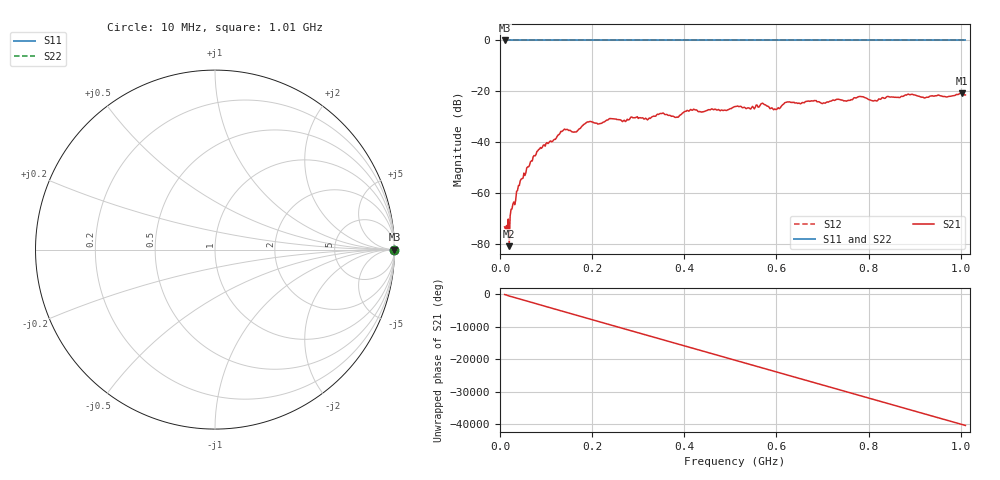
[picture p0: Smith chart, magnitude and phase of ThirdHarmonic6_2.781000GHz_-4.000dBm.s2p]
! 8/17/2025 7:07:53 AM
! C:\ANRITSUVNA\TEMP\TEMP.S2P
! CHANNEL.1
! TR.MEASUREMENT
! RAW.DATA
! RF.CORRECTION.OFF
! AVERAGING.OFF
! IF.BANDWIDTH: 5KHZ
! SWEEPTYPE:  FREQ.SWEEP(Linear)
! Reference Plane Port Info
! PORT:  PORT1  PORT2
! DISTANCE:  0  m  0  m
! TIME:  0  s  0  s
! PHASE.OFFSET:  0  deg.  0  deg.
! LOSS:  0  dB  0  dB
! REF.LOSS:  0  dB  0  dB
! REF.FREQ:  0  Hz  0  Hz
! Power Info
! POWER:  -20  dBm  -20  dBm
! EFF.POWER:  -20  dBm  -20  dBm
! SOURCE.ATTEN:  0  dB  0  dB
! TEST.ATTEN:  0  dB  0  dB
# GHZ S RI R 50.0
! FREQ.GHZ  S11RE  S11IM  S21RE  S21IM  S12RE  S12IM  S22RE  S22IM
!; PortSelection: Port_12
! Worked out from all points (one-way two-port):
!   501 points, 10 MHz to 1.01 GHz, reference 50 ohm
!   highest |S21| = -20.75 dB at 1.002 GHz (marker M1); lowest = -80.9 dB at 20 MHz (marker M2)
!   lowest |S11| = 0.0 dB at 10 MHz (marker M3)
!   |S11| at or under -10 dB: nowhere
!   |S22| runs from 0.0 to 0.0 dB; largest |S21 - S12| = 1.1
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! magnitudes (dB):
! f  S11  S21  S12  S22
! 10 MHz  0.0  -73.3  0.0  0.0
! 16 MHz  0.0  -74.7  0.0  0.0
! 20 MHz  0.0  -80.9  0.0  0.0
! 26 MHz  0.0  -66.3  0.0  0.0
! 44 MHz  0.0  -55.2  0.0  0.0
! 84 MHz  0.0  -42.9  0.0  0.0
! 136 MHz  0.0  -35.6  0.0  0.0
! 162 MHz  0.0  -36.0  0.0  0.0
! 178 MHz  0.0  -33.7  0.0  0.0
! 194 MHz  0.0  -31.9  0.0  0.0
! 322 MHz  0.0  -30.9  0.0  0.0
! 344 MHz  0.0  -29.1  0.0  0.0
! 384 MHz  0.0  -30.1  0.0  0.0
! 416 MHz  0.0  -27.4  0.0  0.0
! 510 MHz  0.0  -26.0  0.0  0.0
! 570 MHz  0.0  -24.7  0.0  0.0
! 598 MHz  0.0  -27.1  0.0  0.0
! 622 MHz  0.0  -24.3  0.0  0.0
! 678 MHz  0.0  -23.8  0.0  0.0
! 844 MHz  0.0  -22.1  0.0  0.0
! 1.002 GHz  0.0  -20.7  0.0  0.0
! 1.01 GHz  0.0  -21.4  0.0  0.0
